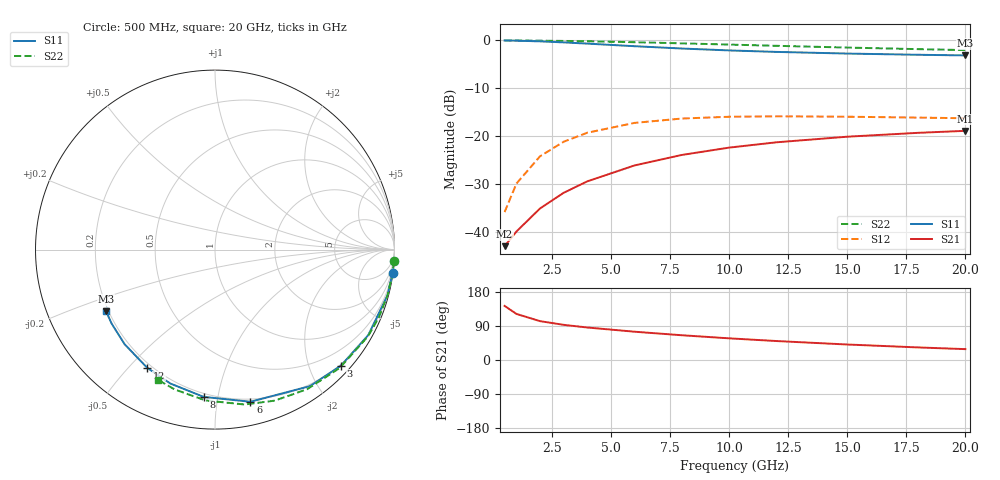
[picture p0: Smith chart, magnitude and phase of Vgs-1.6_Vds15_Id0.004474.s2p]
# Hz S RI R 50
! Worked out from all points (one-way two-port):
!   12 points, 500 MHz to 20 GHz, reference 50 ohm
!   highest |S21| = -18.89 dB at 20 GHz (marker M1); lowest = -43.0 dB at 500 MHz (marker M2)
!   lowest |S11| = -3.1 dB at 20 GHz (marker M3), VSWR 5.61, Z = 9.51 - j12.7 ohm
!   |S11| at or under -10 dB: nowhere
!   |S22| runs from -2.0 to 0.0 dB; largest |S21 - S12| = 0.12
!   S11 on the Smith chart (normalised r, x): 500 MHz: 0, -15; 3 GHz: 0.18, -2.55; 6 GHz: 0.18, -1.24; 8 GHz: 0.18, -0.91; 12 GHz: 0.18, -0.56; 20 GHz: 0.19, -0.25
5e8  0.9901 -0.1292  -0.00565 0.0043  0.00153 0.0161  0.9971 -0.0658
1e9  0.9611 -0.2541  -0.00529 0.0086  0.006 0.0314  0.9897 -0.131
2e9  0.8538 -0.4766  -0.00381 0.0172  0.0224 0.0575  0.9604 -0.2578
3e9  0.701 -0.6471  -0.00124 0.0256  0.0451 0.0749  0.9136 -0.3766
4e9  0.5282 -0.761  0.00249 0.0337  0.0698 0.0832  0.8514 -0.4847
6e9  0.1975 -0.8477  0.0131 0.0477  0.1129 0.0787  0.6946 -0.6597
8e9  -0.0628 -0.8207  0.0266 0.0578  0.1407 0.0598  0.5148 -0.7772
1e10  -0.2489 -0.746  0.0412 0.0638  0.1548 0.0382  0.3338 -0.8413
1.2e10  -0.3786 -0.6576  0.0554 0.0661  0.1601 0.0188  0.165 -0.863
1.5e10  -0.5032 -0.5276  0.0746 0.0646  0.1596 -0.00369  -0.0527 -0.8406
1.8e10  -0.5763 -0.4117  0.0907 0.0593  0.1551 -0.0194  -0.2242 -0.7792
2e10  -0.6072 -0.3429  0.0997 0.0546  0.1515 -0.0272  -0.3156 -0.7271
